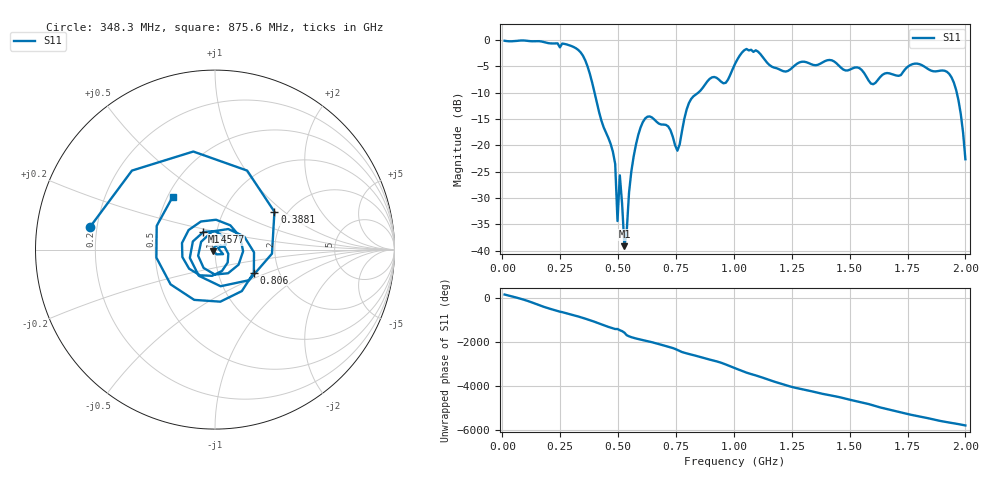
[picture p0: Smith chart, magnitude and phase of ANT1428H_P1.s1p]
!Created with skrf (http://scikit-rf.org).
# Hz S RI R 50.0
!freq ReS11 ImS11
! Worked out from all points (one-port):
!   201 points, 10 MHz to 2 GHz, reference 50 ohm
!   lowest |S11| = -39.2 dB at 527.4 MHz (marker M1), VSWR 1.02, Z = 49.2 - j0.7 ohm
!   |S11| at or under -10 dB: 398.3 MHz to 847.1 MHz (448.8 MHz wide, 72.1 % of centre); 1.963 GHz to end of sweep
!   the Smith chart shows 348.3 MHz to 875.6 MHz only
!   S11 on the Smith chart (normalised r, x): 348.3 MHz: 0.17, +0.09; 388.1 MHz: 1.72, +0.86; 457.8 MHz: 0.86, +0.17; 806 MHz: 1.49, -0.41; 875.6 MHz: 0.53, +0.36
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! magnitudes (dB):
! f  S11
! 10 MHz  -0.2
! 258.8 MHz  -0.7
! 348.3 MHz  -3.0
! 388.1 MHz  -8.1
! 457.8 MHz  -18.6
! 487.6 MHz  -23.6
! 497.6 MHz  -34.4
! 507.5 MHz  -25.7
! 527.4 MHz  -39.2
! 537.4 MHz  -36.4
! 547.3 MHz  -29.0
! 557.2 MHz  -25.0
! 607 MHz  -15.6
! 716.5 MHz  -16.4
! 756.2 MHz  -21.0
! 806 MHz  -12.0
! 875.6 MHz  -8.5
! 965.2 MHz  -8.1
! 1.005 GHz  -4.6
! 1.055 GHz  -1.7
! 1.254 GHz  -5.2
! 1.413 GHz  -3.8
! 1.502 GHz  -5.6
! 1.602 GHz  -8.4
! 1.751 GHz  -5.1
! 1.94 GHz  -7.1
! 1.97 GHz  -11.5
! 2 GHz  -22.7
